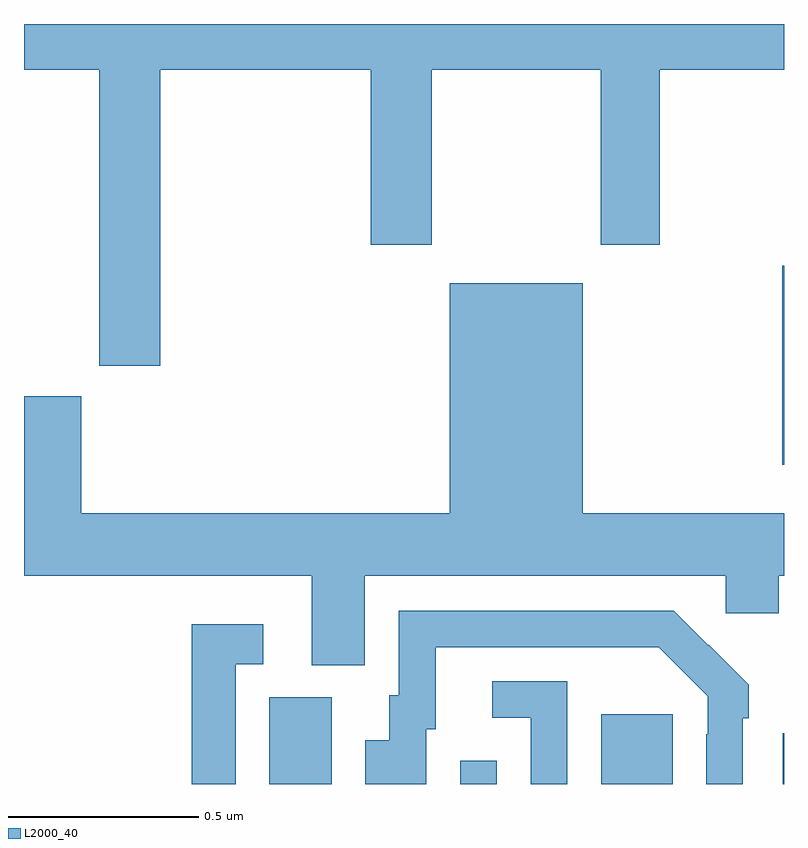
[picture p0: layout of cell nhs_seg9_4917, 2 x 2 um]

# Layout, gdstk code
import gdstk
lib = gdstk.Library(unit=1e-6, precision=1e-09)
def R(c, l, rs):  # rectangles x0, y0, x1, y1
    for r in rs: c.add(gdstk.rectangle(r[:2], r[2:], *l))
def P(c, l, *ps):  # polygons
    for p in ps: c.add(gdstk.Polygon(p, *l))
L2000_40 = (2000, 40)

nhs_seg9_4917 = lib.new_cell('nhs_seg9_4917')
R(nhs_seg9_4917, L2000_40, [(172.646,1234.5,172.81,1234.728), (173.148,1234.5,173.244,1234.561), (173.519,1234.5,173.707,1234.684), (173.997,1234.5,174,1234.633), (173.995,1235.34,174,1235.864)])
P(nhs_seg9_4917, L2000_40, [(172.358,1236.38),(172.913,1236.38),(172.913,1235.919),(173.073,1235.919),(173.073,1236.38),(173.518,1236.38),(173.518,1235.919),(173.673,1235.919),(173.673,1236.38),(174,1236.38),(174,1236.5),(172,1236.5),(172,1236.38),(172.198,1236.38),(172.198,1235.601),(172.358,1235.601)],
  [(172.897,1235.048),(173.847,1235.048),(173.847,1234.95),(173.986,1234.95),(173.986,1235.048),(174,1235.048),(174,1235.212),(173.47,1235.212),(173.47,1235.818),(173.12,1235.818),(173.12,1235.212),(172.15,1235.212),(172.15,1235.521),(172,1235.521),(172,1235.048),(172.757,1235.048),(172.757,1234.813),(172.897,1234.813)],
  [(173.059,1234.644),(173.083,1234.644),(173.083,1234.86),(173.671,1234.86),(173.799,1234.731),(173.799,1234.631),(173.796,1234.631),(173.796,1234.5),(173.892,1234.5),(173.892,1234.673),(173.907,1234.673),(173.907,1234.761),(173.802,1234.866),(173.801,1234.865),(173.71,1234.956),(172.986,1234.956),(172.986,1234.734),(172.961,1234.734),(172.961,1234.615),(172.898,1234.615),(172.898,1234.5),(173.059,1234.5)],
  [(172.557,1234.815),(172.63,1234.815),(172.63,1234.921),(172.441,1234.921),(172.441,1234.5),(172.557,1234.5)],
  [(173.43,1234.77),(173.232,1234.77),(173.232,1234.674),(173.334,1234.674),(173.334,1234.5),(173.43,1234.5)])

lib.write_gds('nhs_seg9_4917.gds')
